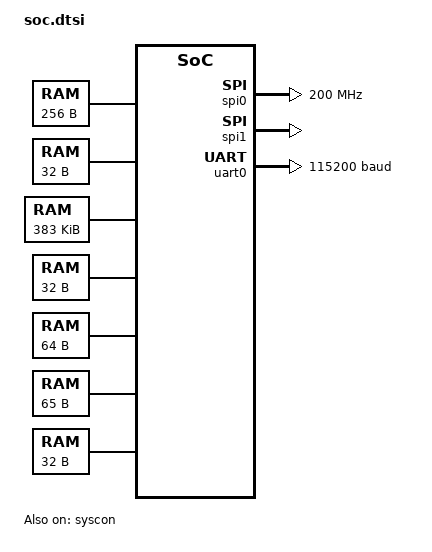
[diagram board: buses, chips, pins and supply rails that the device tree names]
/* Copyright 2025 The ChromiumOS Authors.
 * Use of this source code is governed by a BSD-style license that can be
 * found in the LICENSE file.
 */

#include <cros/egis/et171.dtsi>

/delete-node/ &sram;

/ {
	chosen {
		cros-ec,bbram = &bbram;
	};

	sdcp: memory@0 {
		device_type = "memory";
		compatible = "mmio-sram";
		reg = <0x00000000 256>;
	};

	memory@100 {
		compatible = "zephyr,memory-region", "mmio-sram";
		reg = <0x100 32>;
		zephyr,memory-region = "RetainedMem";
		status = "okay";

		bbram: retained-ram {
			compatible = "zephyr,retained-ram";
			status = "okay";
			#address-cells = <1>;
			#size-cells = <1>;
		};
	};

	sram: memory@400 {
		device_type = "memory";
		compatible = "mmio-sram";
		/* Round down to kB, because the SRAM_SIZE config uses kB as SRAM
		 * size
		 */
		reg = <0x00000400 DT_SIZE_K(383)>;
	};

	sdcp_h_f: memory@90000000 {
		device_type = "memory";
		compatible = "mmio-sram";
		reg = <0x90000000 32>;
	};

	sdcp_s_d: memory@90000020 {
		device_type = "memory";
		compatible = "mmio-sram";
		reg = <0x90000020 64>;
	};

	sdcp_pk_f: memory@90000060 {
		device_type = "memory";
		compatible = "mmio-sram";
		reg = <0x90000060 65>;
	};

	sdcp_sk_f: memory@900000a1 {
		device_type = "memory";
		compatible = "mmio-sram";
		reg = <0x900000a1 32>;
	};
};

&spi0 {
	status = "okay";
	clock-frequency = <200000000>;
};

&spi1 {
	status = "okay";
	/delete-property/ clock-frequency;
	clocks = <&clock ET171_CLOCK_SPIM2>;
};

&syscon {
	status = "okay";
};

&uart0 {
	status = "okay";
	current-speed = <115200>;
	/delete-property/ clock-frequency;
};

&clock {
	/*
	 * CPU is clocked from AHB. The base clock is 200Mhz.
	 * AHB clock = Base clock / AHB divider
	 */
	ahb-divide = <1>;
	/*
	 * APB Source Clock is AHB Clock divided by 2.
	 * APB clock = AHB clock / 2 / APB divider
	 */
	apb-divide = <2>;
};
